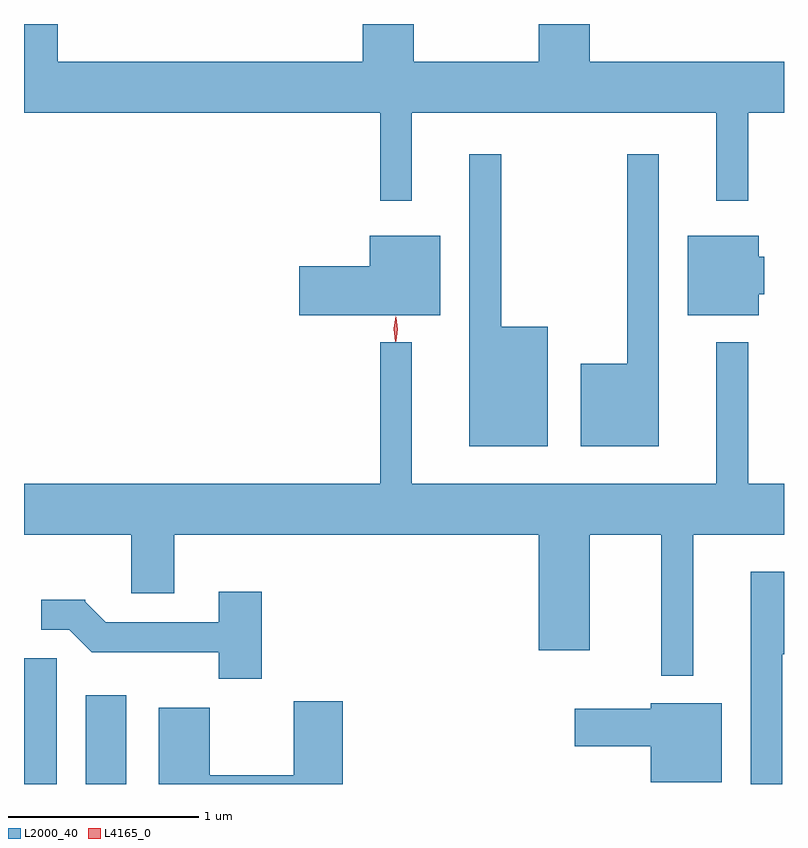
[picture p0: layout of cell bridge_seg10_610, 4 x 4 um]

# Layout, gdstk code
import gdstk
lib = gdstk.Library(unit=1e-6, precision=1e-09)
def R(c, l, rs):  # rectangles x0, y0, x1, y1
    for r in rs: c.add(gdstk.rectangle(r[:2], r[2:], *l))
def P(c, l, *ps):  # polygons
    for p in ps: c.add(gdstk.Polygon(p, *l))
L2000_40 = (2000, 40)
L4165_0 = (4165, 0)

bridge_seg10_610 = lib.new_cell('bridge_seg10_610')
R(bridge_seg10_610, L2000_40, [(771.807,2099.283,771.979,2099.944), (772.131,2099.283,772.344,2099.749)])
P(bridge_seg10_610, L2000_40, [(773.849,2102.816),(775.451,2102.816),(775.451,2102.353),(775.619,2102.353),(775.619,2102.816),(775.807,2102.816),(775.807,2103.084),(774.784,2103.084),(774.784,2103.283),(774.516,2103.283),(774.516,2103.084),(773.859,2103.084),(773.859,2103.283),(773.591,2103.283),(773.591,2103.084),(771.984,2103.084),(771.984,2103.283),(771.807,2103.283),(771.807,2102.816),(773.681,2102.816),(773.681,2102.353),(773.849,2102.353)],
  [(774.564,2101.689),(774.319,2101.689),(774.319,2102.598),(774.151,2102.598),(774.151,2101.061),(774.564,2101.061)],
  [(775.149,2102.598),(774.981,2102.598),(774.981,2101.494),(774.736,2101.494),(774.736,2101.061),(775.149,2101.061)],
  [(775.674,2101.861),(775.704,2101.861),(775.704,2102.059),(775.674,2102.059),(775.674,2102.169),(775.301,2102.169),(775.301,2101.751),(775.674,2101.751)],
  [(773.999,2102.169),(773.626,2102.169),(773.626,2102.009),(773.256,2102.009),(773.256,2101.751),(773.999,2101.751)],
  [(771.807,2100.596),(772.371,2100.596),(772.371,2100.286),(772.599,2100.286),(772.599,2100.596),(774.516,2100.596),(774.516,2099.986),(774.784,2099.986),(774.784,2100.596),(775.161,2100.596),(775.161,2099.853),(775.329,2099.853),(775.329,2100.596),(775.807,2100.596),(775.807,2100.864),(775.619,2100.864),(775.619,2101.608),(775.451,2101.608),(775.451,2100.864),(773.849,2100.864),(773.849,2101.608),(773.681,2101.608),(773.681,2100.864),(771.807,2100.864)],
  [(775.799,2099.966),(775.807,2099.966),(775.807,2100.399),(775.631,2100.399),(775.631,2099.283),(775.799,2099.283)],
  [(773.059,2100.294),(772.831,2100.294),(772.831,2100.134),(772.237,2100.134),(772.13,2100.241),(772.13,2100.254),(771.898,2100.254),(771.898,2100.096),(772.044,2100.096),(772.164,2099.976),(772.831,2099.976),(772.831,2099.836),(773.059,2099.836)],
  [(773.484,2099.719),(773.226,2099.719),(773.226,2099.329),(772.784,2099.329),(772.784,2099.684),(772.516,2099.684),(772.516,2099.283),(773.484,2099.283)],
  [(775.479,2099.709),(775.106,2099.709),(775.106,2099.679),(774.706,2099.679),(774.706,2099.481),(775.106,2099.481),(775.106,2099.291),(775.479,2099.291)])
P(bridge_seg10_610, L4165_0, [(773.764,2101.613),(773.764,2101.614),(773.754,2101.677),(773.764,2101.74),(773.764,2101.74),(773.765,2101.74),(773.774,2101.677),(773.765,2101.614)],
  [(773.761,2101.61),(773.752,2101.678),(773.763,2101.746),(773.763,2101.746),(773.764,2101.746),(773.772,2101.678),(773.762,2101.61),(773.762,2101.61)])

lib.write_gds('bridge_seg10_610.gds')
